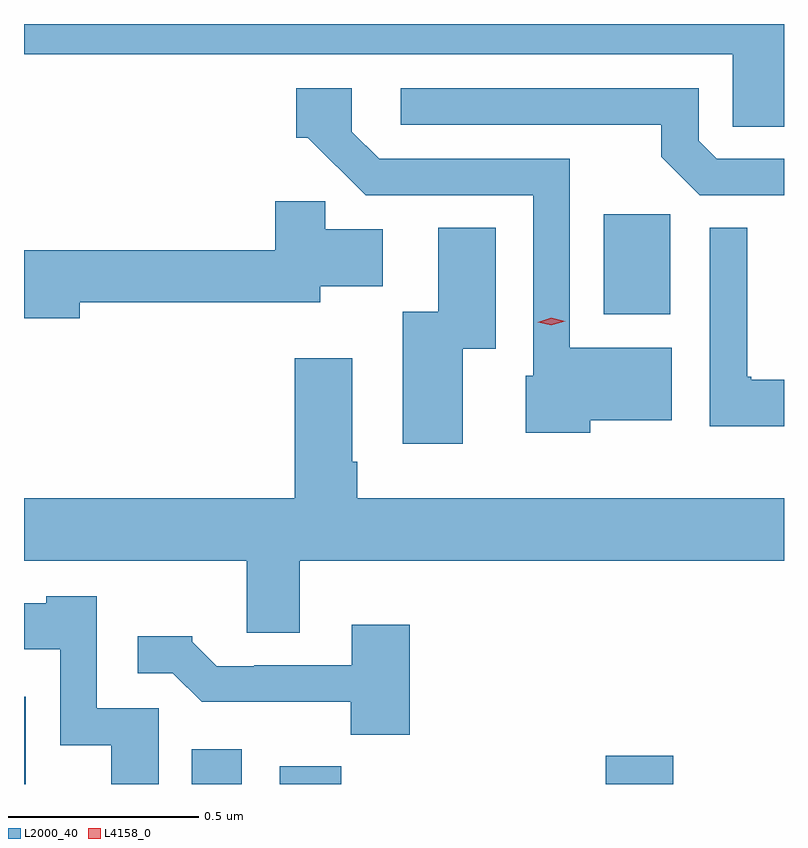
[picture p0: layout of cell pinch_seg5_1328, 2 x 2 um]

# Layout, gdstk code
import gdstk
lib = gdstk.Library(unit=1e-6, precision=1e-09)
def R(c, l, rs):  # rectangles x0, y0, x1, y1
    for r in rs: c.add(gdstk.rectangle(r[:2], r[2:], *l))
def P(c, l, *ps):  # polygons
    for p in ps: c.add(gdstk.Polygon(p, *l))
L2000_40 = (2000, 40)
L4158_0 = (4158, 0)

pinch_seg5_1328 = lib.new_cell('pinch_seg5_1328')
R(pinch_seg5_1328, L2000_40, [(411.553,849.512,411.558,849.741), (411.995,849.512,412.126,849.604), (412.226,849.512,412.388,849.559), (413.084,849.512,413.262,849.586), (413.078,850.748,413.254,851.012)])
P(pinch_seg5_1328, L2000_40, [(413.553,851.512),(411.553,851.512),(411.553,851.432),(413.418,851.432),(413.418,851.242),(413.553,851.242)],
  [(413.043,850.469),(413.257,850.469),(413.257,850.66),(412.989,850.66),(412.989,851.157),(412.488,851.157),(412.416,851.229),(412.416,851.343),(412.269,851.343),(412.269,851.213),(412.3,851.213),(412.452,851.061),(412.893,851.061),(412.893,850.587),(412.874,850.587),(412.874,850.436),(413.043,850.436)],
  [(413.553,851.157),(413.376,851.157),(413.328,851.205),(413.328,851.343),(412.545,851.343),(412.545,851.247),(413.23,851.247),(413.23,851.163),(413.331,851.061),(413.553,851.061)],
  [(411.7,850.78),(412.332,850.78),(412.332,850.822),(412.497,850.822),(412.497,850.972),(412.346,850.972),(412.346,851.045),(412.214,851.045),(412.214,850.916),(411.553,850.916),(411.553,850.738),(411.7,850.738)],
  [(413.553,850.576),(413.467,850.576),(413.467,850.584),(413.456,850.584),(413.456,850.976),(413.358,850.976),(413.358,850.454),(413.553,850.454)],
  [(412.708,850.658),(412.795,850.658),(412.795,850.976),(412.643,850.976),(412.643,850.755),(412.55,850.755),(412.55,850.407),(412.708,850.407)],
  [(412.279,850.1),(413.553,850.1),(413.553,850.264),(412.43,850.264),(412.43,850.36),(412.417,850.36),(412.417,850.633),(412.265,850.633),(412.265,850.264),(411.553,850.264),(411.553,850.1),(412.139,850.1),(412.139,849.91),(412.279,849.91)],
  [(411.907,849.711),(411.744,849.711),(411.744,850.006),(411.612,850.006),(411.612,849.988),(411.553,849.988),(411.553,849.866),(411.648,849.866),(411.648,849.614),(411.782,849.614),(411.782,849.512),(411.907,849.512)],
  [(412.568,849.931),(412.415,849.931),(412.415,849.825),(412.159,849.825),(412.159,849.822),(412.06,849.822),(411.996,849.886),(411.996,849.901),(411.852,849.901),(411.852,849.804),(411.945,849.804),(412.021,849.728),(412.413,849.728),(412.413,849.641),(412.568,849.641)])
P(pinch_seg5_1328, L4158_0, [(412.941,850.719),(412.905,850.727),(412.905,850.727),(412.905,850.727),(412.94,850.739),(412.977,850.73),(412.977,850.73),(412.977,850.73)])

lib.write_gds('pinch_seg5_1328.gds')
